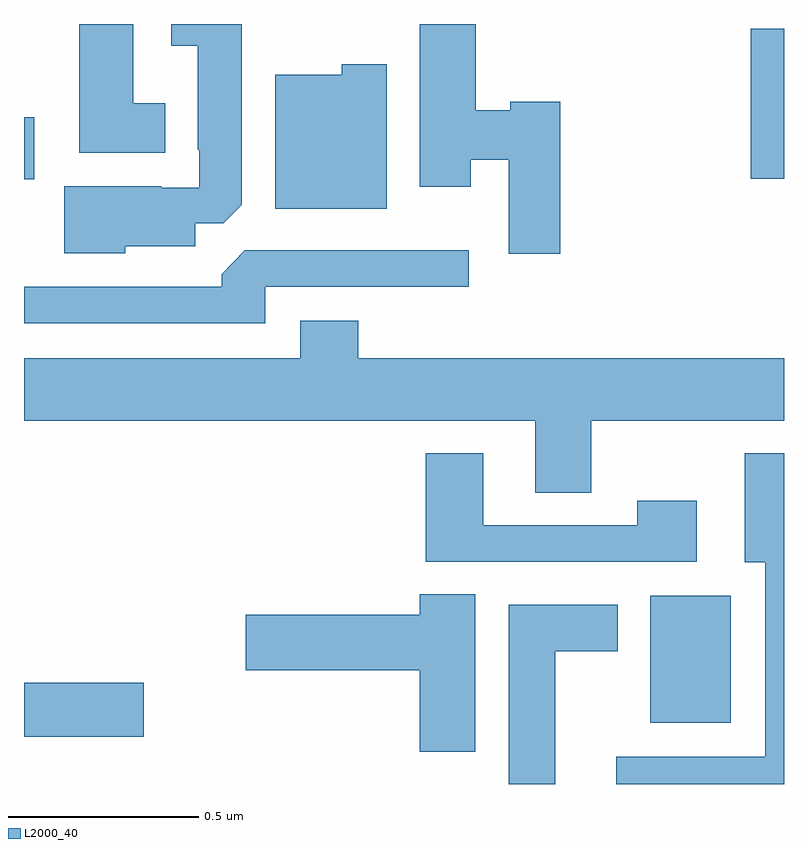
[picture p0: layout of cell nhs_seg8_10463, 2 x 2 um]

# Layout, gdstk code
import gdstk
lib = gdstk.Library(unit=1e-6, precision=1e-09)
def R(c, l, rs):  # rectangles x0, y0, x1, y1
    for r in rs: c.add(gdstk.rectangle(r[:2], r[2:], *l))
def P(c, l, *ps):  # polygons
    for p in ps: c.add(gdstk.Polygon(p, *l))
L2000_40 = (2000, 40)

nhs_seg8_10463 = lib.new_cell('nhs_seg8_10463')
R(nhs_seg8_10463, L2000_40, [(250,1093.024,250.315,1093.166), (251.648,1093.061,251.86,1093.396), (250,1094.492,250.027,1094.655), (251.912,1094.493,252,1094.887)])
P(nhs_seg8_10463, L2000_40, [(251.411,1094.696),(251.28,1094.696),(251.28,1094.673),(251.189,1094.673),(251.189,1094.9),(251.042,1094.9),(251.042,1094.472),(251.176,1094.472),(251.176,1094.543),(251.276,1094.543),(251.276,1094.295),(251.411,1094.295)],
  [(250.372,1094.692),(250.288,1094.692),(250.288,1094.9),(250.145,1094.9),(250.145,1094.561),(250.372,1094.561)],
  [(250.266,1094.315),(250.45,1094.315),(250.45,1094.376),(250.524,1094.376),(250.573,1094.425),(250.573,1094.9),(250.388,1094.9),(250.388,1094.843),(250.457,1094.843),(250.457,1094.569),(250.461,1094.569),(250.461,1094.469),(250.361,1094.469),(250.361,1094.473),(250.106,1094.473),(250.106,1094.297),(250.266,1094.297)],
  [(250.954,1094.794),(250.836,1094.794),(250.836,1094.767),(250.661,1094.767),(250.661,1094.414),(250.954,1094.414)],
  [(250.635,1094.208),(251.17,1094.208),(251.17,1094.304),(250.581,1094.304),(250.52,1094.242),(250.52,1094.208),(250,1094.208),(250,1094.112),(250.635,1094.112)],
  [(251.493,1093.856),(252,1093.856),(252,1094.02),(250.88,1094.02),(250.88,1094.119),(250.727,1094.119),(250.727,1094.02),(250,1094.02),(250,1093.856),(251.345,1093.856),(251.345,1093.666),(251.493,1093.666)],
  [(252,1093.771),(251.897,1093.771),(251.897,1093.484),(251.951,1093.484),(251.951,1092.972),(251.559,1092.972),(251.559,1092.9),(252,1092.9)],
  [(251.77,1093.645),(251.614,1093.645),(251.614,1093.581),(251.209,1093.581),(251.209,1093.771),(251.057,1093.771),(251.057,1093.485),(251.77,1093.485)],
  [(251.188,1093.4),(251.042,1093.4),(251.042,1093.346),(250.584,1093.346),(250.584,1093.199),(251.042,1093.199),(251.042,1092.985),(251.188,1092.985)],
  [(251.398,1093.25),(251.563,1093.25),(251.563,1093.372),(251.276,1093.372),(251.276,1092.9),(251.398,1092.9)])

lib.write_gds('nhs_seg8_10463.gds')
